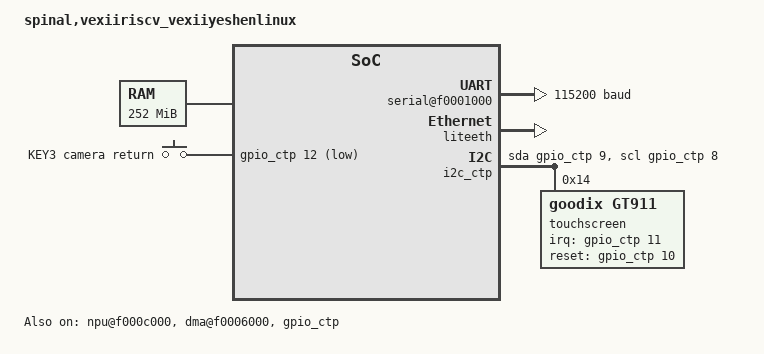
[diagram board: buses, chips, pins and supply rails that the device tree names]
/dts-v1/;
#include <dt-bindings/gpio/gpio.h>
#include <dt-bindings/input/input.h>
#include <dt-bindings/interrupt-controller/irq.h>
/ {
    #address-cells = <0x1>;
    #size-cells = <0x1>;
    compatible = "spinal,vexiiriscv";
    model = "spinal,vexiiriscv_vexiiyeshenlinux";
    chosen {
        bootargs = "rootwait console=ttyS0,115200 earlycon=sbi root=/dev/ram0 init=/init";
        stdout-path = "/serial@f0001000";
        linux,initrd-start = <0x83000000>;
        linux,initrd-end = <0x83800000>;
    };
    cpus {
        #address-cells = <0x1>;
        #size-cells = <0x0>;
        timebase-frequency = <100000000>;
        cpu@0 {
            device_type = "cpu";
            compatible = "riscv";
            riscv,isa = "rv32imac";
            mmu-type = "riscv,sv32";
            reg = <0>;
            status = "okay";
            L0: interrupt-controller {
                #interrupt-cells = <0x00000001>;
                interrupt-controller;
                compatible = "riscv,cpu-intc";
            };
        };
    };
    memory@80400000 {
        device_type = "memory";
        reg = <0x80400000 0x0FC00000>;
    };
    reserved-memory {
        #address-cells = <0x1>;
        #size-cells = <0x1>;
        ranges;
        npu_arena: npu_arena@80400000 {
            reg = <0x80400000 0x01C00000>;
            no-map;
        };
    };
    serial@f0001000 {
        compatible = "ns16550a";
        reg = <0xf0001000 0x20>;
        reg-shift = <0x2>;
        clock-frequency = <100000000>;
        current-speed = <115200>;
        interrupt-parent = <&plic>;
        interrupts = <1>;
        status = "okay";
    };
    plic: interrupt-controller@f0c00000 {
        compatible = "sifive,plic-1.0.0", "sifive,fu540-c000-plic", "riscv,plic0";
        reg = <0xf0c00000 0x4000000>;
        interrupt-controller;
        #address-cells = <0x0>;
        #interrupt-cells = <0x1>;
        interrupts-extended = <&L0 11 &L0 9>;
        riscv,ndev = <5>;
    };
    liteeth: ethernet@f0003000 {
        compatible = "litex,liteeth";
        reg = <0xf0003000 0x100>,
              <0xf0004000 0x100>,
              <0xf0008000 0x3000>;
        reg-names = "mac", "mdio", "buffer";
        interrupt-parent = <&plic>;
        interrupts = <2>;
        litex,rx-slots = <4>;
        litex,tx-slots = <2>;
        litex,slot-size = <0x800>;
        local-mac-address = [02 00 00 00 00 01];
        status = "okay";
    };
    npu@f000c000 {
        compatible = "y1,yunet-npu";
        reg = <0xf000c000 0x4000>;
        interrupt-parent = <&plic>;
        interrupts = <3>;
        status = "okay";
    };
    dma@f0006000 {
        compatible = "y1,dma-engine";
        reg = <0xf0006000 0x100>;
        interrupt-parent = <&plic>;
        interrupts = <4>;
        status = "okay";
    };
    gpio_ctp: gpio@f0002000 {
        compatible = "yeshen,ctp-gpio";
        reg = <0xf0002000 0x1000>;
        gpio-controller;
        #gpio-cells = <0x2>;
        ngpios = <13>;
        status = "okay";
    };
    i2c_ctp: i2c-ctp {
        compatible = "i2c-gpio";
        /* i2c-gpio ignores the GPIO_OPEN_DRAIN specifier flag: without these
         * properties it enforces open-drain by switching the line to input
         * for a high level, which leaves SCL floating (the J26 panel has no
         * SCL pull-up). Declaring the lines "open drain" here makes the
         * driver treat them as ordinary outputs; the board top already
         * implements push-pull SCL and open-drain SDA. */
        i2c-gpio,scl-open-drain;
        scl-gpios = <&gpio_ctp 8 GPIO_ACTIVE_HIGH>;
        /* SDA stays a real open-drain descriptor: high -> input, so the
         * gpiochip reads the panel's ACK from the pad. */
        sda-gpios = <&gpio_ctp 9 (GPIO_ACTIVE_HIGH | GPIO_OPEN_DRAIN)>;
        i2c-gpio,delay-us = <20>;
        #address-cells = <1>;
        #size-cells = <0>;
        status = "okay";
        touchscreen@14 {
            compatible = "goodix,gt911";
            reg = <0x14>;
            interrupt-parent = <&plic>;
            interrupts = <5>;
            /* The panel straps INT high (FPGA INT is input-only), so the
             * chip answers at 0x14; a userspace scan read ID 3931 at 0x14. */
            irq-gpios = <&gpio_ctp 11 GPIO_ACTIVE_HIGH>;
            /* The driver drives physical 0 = reset, 1 = release (the DT
             * binding example also uses flag 0), so this must be
             * GPIO_ACTIVE_HIGH even though RSTN is active-low on the wire. */
            reset-gpios = <&gpio_ctp 10 GPIO_ACTIVE_HIGH>;
            touchscreen-size-x = <1024>;
            touchscreen-size-y = <600>;
            status = "okay";
        };
    };
    gpio-keys {
        compatible = "gpio-keys-polled";
        poll-interval = <20>;
        key3 {
            label = "KEY3 camera return";
            gpios = <&gpio_ctp 12 GPIO_ACTIVE_LOW>;
            linux,code = <KEY_F13>;
        };
    };
};
